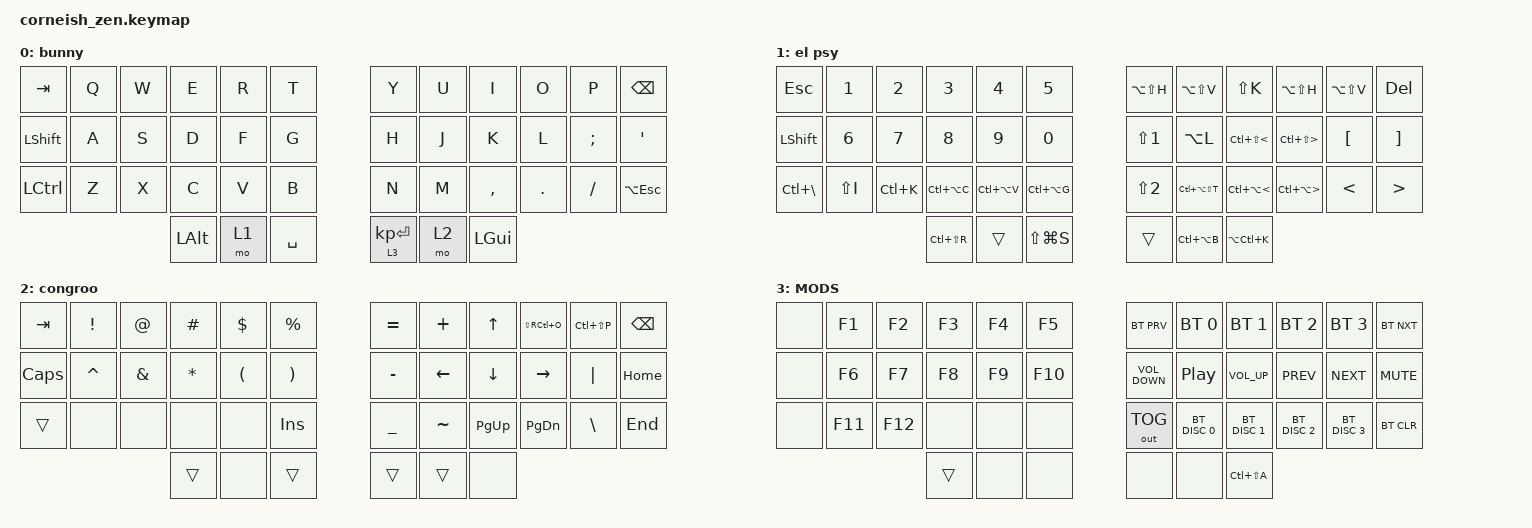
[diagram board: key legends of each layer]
/*
*
* Copyright (c) 2021 Darryl deHaan
* SPDX-License-Identifier: MIT
*
*/

#include <behaviors.dtsi>
#include <dt-bindings/zmk/bt.h>
#include <dt-bindings/zmk/keys.h>
#include <dt-bindings/zmk/outputs.h>

/ {
    chosen {
        zmk,matrix_transform = &default_transform;

        // zmk,matrix_transform = &five_column_transform;
    };
};

/ {
    keymap {
        compatible = "zmk,keymap";

        default_layer {
            display-name = "bunny";

            // --------------------------------------------------------------------------------
            // |  TAB |  Q  |  W  |  E  |  R  |  T  |   |  Y  |  U   |  I  |  O  |  P  | BKSP |
            // | CTRL |  A  |  S  |  D  |  F  |  G  |   |  H  |  J   |  K  |  L  |  ;  |  '   |
            // | SHFT |  Z  |  X  |  C  |  V  |  B  |   |  N  |  M   |  ,  |  .  |  /  | ESC  |
            //                    | GUI | LWR | SPC |   | ENT | RSE  | ALT |

            bindings = <
&kp TAB     &kp Q  &kp W  &kp E     &kp R  &kp T        &kp Y           &kp U  &kp I         &kp O    &kp P     &kp BSPC
&kp LSHIFT  &kp A  &kp S  &kp D     &kp F  &kp G        &kp H           &kp J  &kp K         &kp L    &kp SEMI  &kp SQT
&kp LCTRL   &kp Z  &kp X  &kp C     &kp V  &kp B        &kp N           &kp M  &kp COMMA     &kp DOT  &kp FSLH  &kp LA(ESC)
                          &kp LALT  &mo 1  &kp SPACE    &lt 3 KP_ENTER  &mo 2  &kp LEFT_GUI
            >;
        };

        lower_layer {
            display-name = "el psy";

            // -----------------------------------------------------------------------------------------
            // |  TAB |  1  |  2  |  3  |  4  |  5  |   |  6  |  7  |  8  |  9  |  0  | BKSP |
            // | BTCLR| BT1 | BT2 | BT3 | BT4 |SD_UL|   | LFT | DWN |  UP | RGT |     |      |
            // | SHFT |     |     |     |     |     |   |     |     |     |     |     |      |
            //                    | GUI |     | SPC |   | ENT |     | ALT |

            bindings = <
&kp ESC            &kp N1     &kp N2     &kp N3         &kp N4         &kp N5           &kp LA(LS(H))     &kp LA(LS(V))      &kp LS(K)              &kp LA(LS(H))             &kp LA(LS(V))     &kp DEL
&kp LSHFT          &kp N6     &kp N7     &kp N8         &kp N9         &kp N0           &kp LS(NUMBER_1)  &kp LA(L)          &kp LC(LS(LESS_THAN))  &kp LC(LS(GREATER_THAN))  &kp LEFT_BRACKET  &kp RIGHT_BRACKET
&kp LC(BACKSLASH)  &kp LS(I)  &kp LC(K)  &kp LC(LA(C))  &kp LC(LA(V))  &kp LC(LA(G))    &kp LS(NUMBER_2)  &kp LC(LA(LS(T)))  &kp LC(LA(LESS_THAN))  &kp LC(LA(GREATER_THAN))  &kp LESS_THAN     &kp GREATER_THAN
                                         &kp LC(LS(R))  &trans         &kp LS(LG(S))    &trans            &kp LC(LA(B))      &kp LA(LC(K))
            >;
        };

        raise_layer {
            display-name = "congroo";

            // -----------------------------------------------------------------------------------------
            // |  TAB |  !  |  @  |  #  |  $  |  %  |   |  ^  |  &  |  *  |  (  |  )  | BKSP |
            // | CTRL |SD_UL|     |     |     |     |   |  -  |  =  |  [  |  ]  |  \  |  `   |
            // | SHFT |     |     |     |     |     |   |  _  |  +  |  {  |  }  | "|" |  ~   |
            //                    | GUI |     | SPC |   | ENT |     | ALT |

            bindings = <
&kp TAB       &kp EXCL   &kp AT    &kp HASH   &kp DLLR  &kp PRCNT    &kp EQUAL  &kp PLUS   &kp UP       &kp LS(RC(O))  &kp LC(LS(P))  &kp BSPC
&kp CAPSLOCK  &kp CARET  &kp AMPS  &kp ASTRK  &kp LPAR  &kp RPAR     &kp MINUS  &kp LEFT   &kp DOWN     &kp RIGHT      &kp PIPE       &kp HOME
&trans        &none      &none     &none      &none     &kp INS      &kp UNDER  &kp TILDE  &kp PAGE_UP  &kp PAGE_DOWN  &kp BACKSLASH  &kp END
                                   &trans     &none     &trans       &trans     &trans     &none
            >;
        };

        Mods {
            bindings = <
&none  &kp F1   &kp F2   &kp F3  &kp F4  &kp F5     &bt BT_PRV         &bt BT_SEL 0      &bt BT_SEL 1     &bt BT_SEL 2   &bt BT_SEL 3   &bt BT_NXT
&none  &kp F6   &kp F7   &kp F8  &kp F9  &kp F10    &kp C_VOLUME_DOWN  &kp C_PLAY_PAUSE  &kp C_VOLUME_UP  &kp C_PREV     &kp C_NEXT     &kp C_MUTE
&none  &kp F11  &kp F12  &none   &none   &none      &out OUT_TOG       &bt BT_DISC 0     &bt BT_DISC 1    &bt BT_DISC 2  &bt BT_DISC 3  &bt BT_CLR
                         &trans  &none   &none      &none              &none             &kp LC(LS(A))
            >;

            display-name = "MODS";
        };
    };
};
